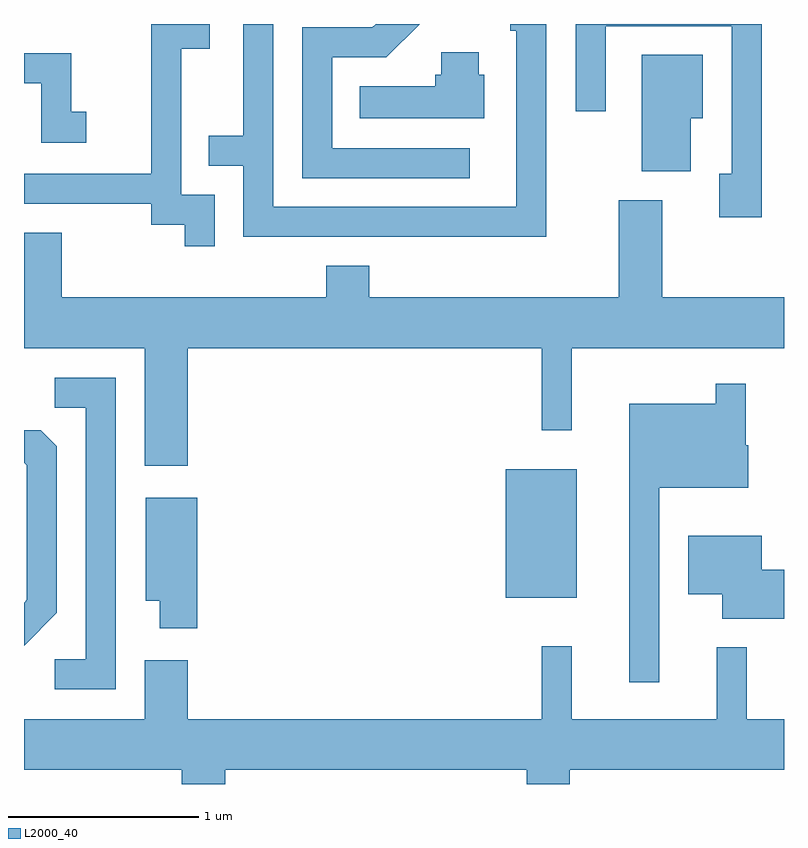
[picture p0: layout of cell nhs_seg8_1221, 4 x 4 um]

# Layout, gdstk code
import gdstk
lib = gdstk.Library(unit=1e-6, precision=1e-09)
def R(c, l, rs):  # rectangles x0, y0, x1, y1
    for r in rs: c.add(gdstk.rectangle(r[:2], r[2:], *l))
def P(c, l, *ps):  # polygons
    for p in ps: c.add(gdstk.Polygon(p, *l))
L2000_40 = (2000, 40)

nhs_seg8_1221 = lib.new_cell('nhs_seg8_1221')
R(nhs_seg8_1221, L2000_40, [(224.146,1837.321,224.519,1837.999), (221.611,1840.341,222.129,1840.342)])
P(nhs_seg8_1221, L2000_40, [(224.359,1840.342),(224.171,1840.342),(224.171,1840.306),(224.201,1840.306),(224.201,1839.379),(222.924,1839.379),(222.924,1840.342),(222.766,1840.342),(222.766,1839.754),(222.583,1839.754),(222.583,1839.596),(222.766,1839.596),(222.766,1839.221),(224.359,1839.221)],
  [(225.494,1840.342),(224.516,1840.342),(224.516,1839.883),(224.674,1839.883),(224.674,1840.331),(225.336,1840.331),(225.336,1839.554),(225.271,1839.554),(225.271,1839.326),(225.494,1839.326)],
  [(223.958,1839.689),(223.234,1839.689),(223.234,1840.166),(223.517,1840.166),(223.693,1840.342),(223.462,1840.342),(223.444,1840.324),(223.076,1840.324),(223.076,1839.531),(223.958,1839.531)],
  [(222.614,1839.444),(222.439,1839.444),(222.439,1840.211),(222.589,1840.211),(222.589,1840.342),(222.281,1840.342),(222.281,1839.554),(221.611,1839.554),(221.611,1839.396),(222.281,1839.396),(222.281,1839.286),(222.456,1839.286),(222.456,1839.173),(222.614,1839.173)],
  [(224.034,1840.074),(224.004,1840.074),(224.004,1840.194),(223.806,1840.194),(223.806,1840.074),(223.776,1840.074),(223.776,1840.014),(223.378,1840.014),(223.378,1839.846),(224.034,1839.846)],
  [(221.938,1839.879),(221.859,1839.879),(221.859,1840.189),(221.611,1840.189),(221.611,1840.031),(221.701,1840.031),(221.701,1839.716),(221.938,1839.716)],
  [(225.119,1839.846),(225.184,1839.846),(225.184,1840.179),(224.861,1840.179),(224.861,1839.566),(225.119,1839.566)],
  [(222.474,1838.636),(224.336,1838.636),(224.336,1838.203),(224.494,1838.203),(224.494,1838.636),(225.611,1838.636),(225.611,1838.904),(224.969,1838.904),(224.969,1839.414),(224.741,1839.414),(224.741,1838.904),(223.429,1838.904),(223.429,1839.069),(223.201,1839.069),(223.201,1838.904),(221.809,1838.904),(221.809,1839.244),(221.611,1839.244),(221.611,1838.636),(222.246,1838.636),(222.246,1838.016),(222.474,1838.016)],
  [(222.094,1838.479),(221.773,1838.479),(221.773,1838.321),(221.936,1838.321),(221.936,1836.999),(221.773,1836.999),(221.773,1836.841),(222.094,1836.841)],
  [(224.954,1837.901),(225.424,1837.901),(225.424,1838.125),(225.409,1838.125),(225.409,1838.448),(225.251,1838.448),(225.251,1838.344),(224.796,1838.344),(224.796,1836.878),(224.954,1836.878)],
  [(221.784,1837.244),(221.784,1838.119),(221.699,1838.204),(221.611,1838.204),(221.611,1838.034),(221.626,1838.019),(221.626,1837.312),(221.611,1837.297),(221.611,1837.07)],
  [(222.524,1837.849),(222.251,1837.849),(222.251,1837.306),(222.326,1837.306),(222.326,1837.161),(222.524,1837.161)],
  [(225.611,1837.469),(225.494,1837.469),(225.494,1837.649),(225.106,1837.649),(225.106,1837.341),(225.286,1837.341),(225.286,1837.211),(225.611,1837.211)],
  [(222.669,1836.416),(224.256,1836.416),(224.256,1836.342),(224.484,1836.342),(224.484,1836.416),(225.611,1836.416),(225.611,1836.684),(225.414,1836.684),(225.414,1837.063),(225.256,1837.063),(225.256,1836.684),(224.494,1836.684),(224.494,1837.068),(224.336,1837.068),(224.336,1836.684),(222.474,1836.684),(222.474,1836.994),(222.246,1836.994),(222.246,1836.684),(221.611,1836.684),(221.611,1836.416),(222.441,1836.416),(222.441,1836.342),(222.669,1836.342)])

lib.write_gds('nhs_seg8_1221.gds')
